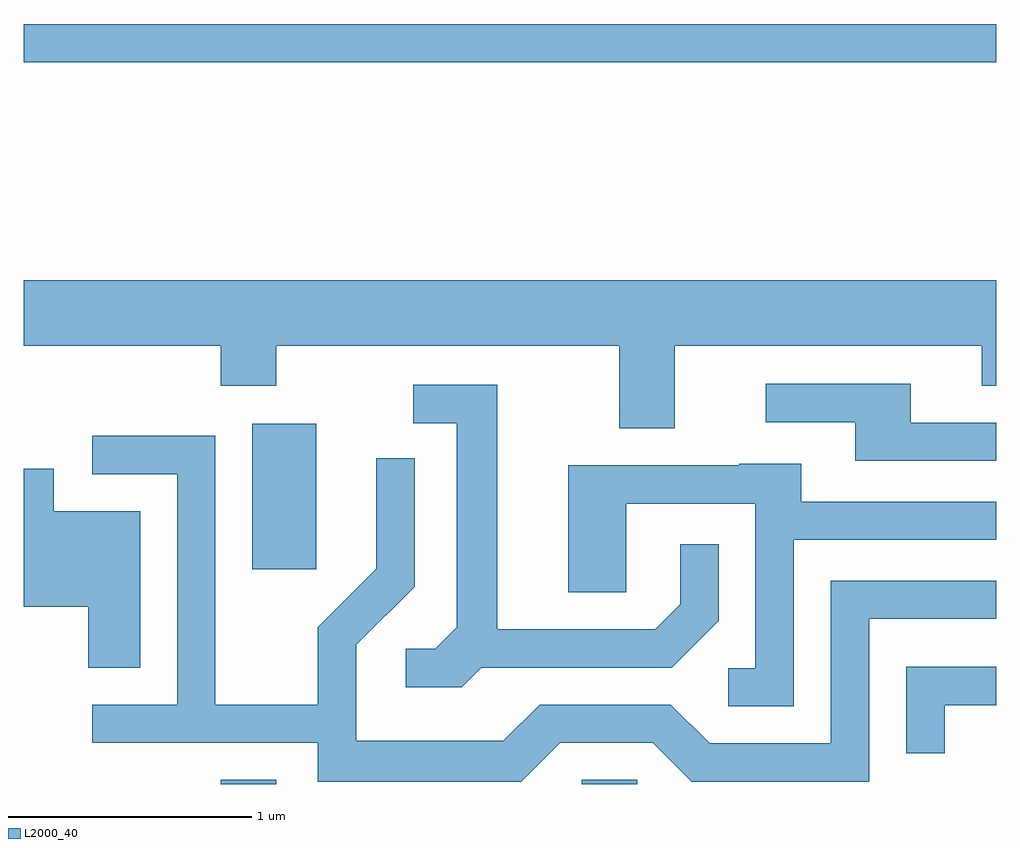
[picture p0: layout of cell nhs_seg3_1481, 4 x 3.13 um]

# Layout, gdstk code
import gdstk
lib = gdstk.Library(unit=1e-6, precision=1e-09)
def R(c, l, rs):  # rectangles x0, y0, x1, y1
    for r in rs: c.add(gdstk.rectangle(r[:2], r[2:], *l))
def P(c, l, *ps):  # polygons
    for p in ps: c.add(gdstk.Polygon(p, *l))
L2000_40 = (2000, 40)

nhs_seg3_1481 = lib.new_cell('nhs_seg3_1481')
R(nhs_seg3_1481, L2000_40, [(228.421,1221.892,228.649,1221.909), (229.906,1221.892,230.134,1221.909), (228.551,1222.776,228.814,1223.374), (227.611,1224.861,231.611,1225.019)])
P(nhs_seg3_1481, L2000_40, [(230.289,1223.696),(231.551,1223.696),(231.551,1223.531),(231.611,1223.531),(231.611,1223.964),(227.611,1223.964),(227.611,1223.696),(228.421,1223.696),(228.421,1223.531),(228.649,1223.531),(228.649,1223.696),(230.061,1223.696),(230.061,1223.356),(230.289,1223.356)],
  [(231.611,1223.379),(231.259,1223.379),(231.259,1223.539),(230.663,1223.539),(230.663,1223.381),(231.031,1223.381),(231.031,1223.221),(231.611,1223.221)],
  [(229.492,1222.371),(230.277,1222.371),(230.469,1222.564),(230.469,1222.878),(230.311,1222.878),(230.311,1222.632),(230.209,1222.529),(229.559,1222.529),(229.559,1223.534),(229.213,1223.534),(229.213,1223.376),(229.391,1223.376),(229.391,1222.537),(229.304,1222.449),(229.183,1222.449),(229.183,1222.291),(229.412,1222.291)],
  [(229.817,1222.061),(230.199,1222.061),(230.359,1221.901),(231.089,1221.901),(231.089,1222.571),(231.611,1222.571),(231.611,1222.729),(230.931,1222.729),(230.931,1222.059),(230.432,1222.059),(230.272,1222.219),(229.734,1222.219),(229.584,1222.069),(228.979,1222.069),(228.979,1222.464),(229.219,1222.704),(229.219,1223.233),(229.061,1223.233),(229.061,1222.777),(228.821,1222.537),(228.821,1222.219),(228.399,1222.219),(228.399,1223.324),(227.893,1223.324),(227.893,1223.166),(228.241,1223.166),(228.241,1222.219),(227.893,1222.219),(227.893,1222.061),(228.821,1222.061),(228.821,1221.901),(229.657,1221.901)],
  [(230.779,1222.896),(231.611,1222.896),(231.611,1223.054),(230.809,1223.054),(230.809,1223.209),(230.555,1223.209),(230.555,1223.204),(229.851,1223.204),(229.851,1222.681),(230.089,1222.681),(230.089,1223.046),(230.621,1223.046),(230.621,1222.369),(230.508,1222.369),(230.508,1222.211),(230.779,1222.211)],
  [(228.089,1223.014),(227.734,1223.014),(227.734,1223.189),(227.611,1223.189),(227.611,1222.621),(227.876,1222.621),(227.876,1222.371),(228.089,1222.371)],
  [(231.399,1222.216),(231.611,1222.216),(231.611,1222.374),(231.241,1222.374),(231.241,1222.018),(231.399,1222.018)])

lib.write_gds('nhs_seg3_1481.gds')
